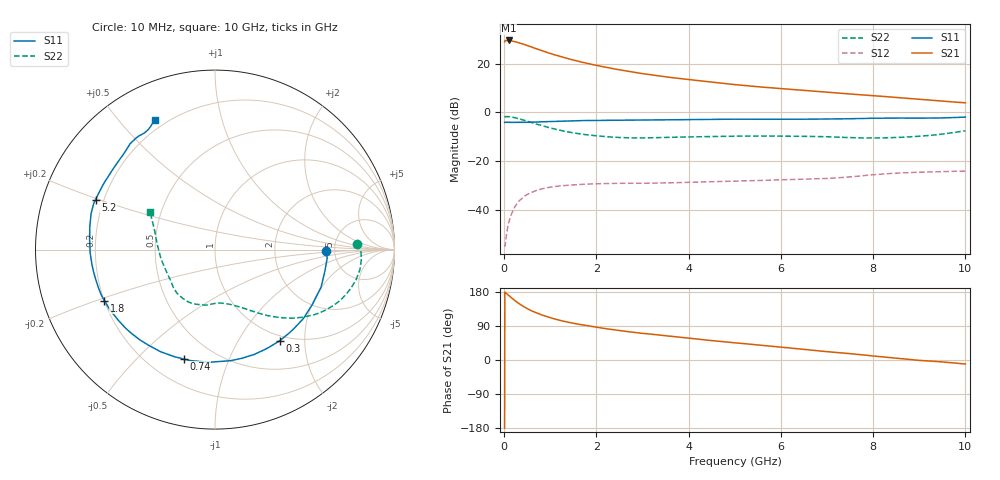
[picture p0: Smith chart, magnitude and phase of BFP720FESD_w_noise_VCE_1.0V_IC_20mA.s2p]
! Infineon Technologies  Discrete & RF Semiconductors
! BFP720FESD
! VCE =  1.0 V,  IC =  20 mA
! Common Emitter S-Parameters:  Jan 2016
# GHz  S  MA  R  50
!  f  S11  S21  S12  S22
! GHz  MAG  ANG  MAG  ANG  MAG  ANG  MAG  ANG
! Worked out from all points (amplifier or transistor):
!   233 points, 10 MHz to 10 GHz, reference 50 ohm
!   highest |S21| = 29.5 dB at 100 MHz (marker M1)
!   |S21| within 3 dB of that: start of sweep to 639.5 MHz
!   unconditionally stable (mu >= 1): start of sweep to 72.49 MHz; 3.083 GHz to end of sweep
!   at 200 MHz: K = 0.46, MSG = 34.5 dB, |S12| = -39.9 dB
!   at 1.74 GHz: K = 0.64, MSG = 24.9 dB, |S12| = -29.5 dB
!   at 10 GHz: K = 1.69, MAG = 9.2 dB, |S12| = -24.1 dB
!   lowest NFmin = 0.95 dB at 450 MHz
!   S11 on the Smith chart (normalised r, x): 10 MHz: 4.26, -0.12; 300 MHz: 0.92, -1.52; 740 MHz: 0.34, -0.70; 1.8 GHz: 0.20, -0.21; 5.2 GHz: 0.17, +0.20; 10 GHz: 0.16, +0.63
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0.01  0.6203 -0.8  27.82 -179.8  0.0019 29.0  0.7922 2.3
0.02  0.6268 -4.4  29.51 178.5  0.0018 40.5  0.8135 -1.0
0.1  0.6272 -19.6  29.72 170.5  0.0055 67.9  0.8153 -7.9
0.2  0.6246 -38.0  28.65 160.1  0.0101 66.1  0.7877 -15.8
0.3  0.623 -54.7  27.03 150.7  0.0143 61.5  0.7484 -22.7
0.4  0.6236 -69.4  25.3 142.7  0.0177 56.5  0.7025 -28.6
0.5  0.6249 -82.0  23.44 135.7  0.0207 52.2  0.6569 -33.7
0.6  0.6288 -93.1  21.7 129.4  0.023 48.1  0.6131 -38.0
0.74  0.6337 -105.9  19.45 122.4  0.0257 43.4  0.5592 -43.0
0.9  0.6447 -118.0  17.23 115.3  0.028 38.9  0.5065 -47.9
1.16  0.6566 -132.8  14.48 106.2  0.0306 33.5  0.4393 -54.5
1.4  0.6665 -143.1  12.46 99.4  0.0321 29.7  0.3928 -59.7
1.68  0.6761 -152.3  10.72 92.9  0.0333 26.7  0.3564 -65.1
1.8  0.6788 -155.3  10.07 90.4  0.0337 25.8  0.3453 -67.3
2.2  0.6848 -164.7  8.403 82.7  0.0346 23.3  0.3169 -74.5
2.54  0.6891 -171.4  7.319 77.1  0.035 21.8  0.3033 -80.7
3.4  0.6994 176.5  5.494 65.3  0.0355 22.0  0.3036 -93.0
5.1  0.7223 158.2  3.625 44.3  0.0389 25.0  0.325 -112.6
5.2  0.7216 157.3  3.551 43.2  0.0392 25.2  0.3255 -113.7
6.8  0.7255 140.2  2.673 24.5  0.0434 28.6  0.3179 -134.4
8.4  0.7612 125.4  2.051 5.8  0.0559 30.0  0.3023 -167.4
10  0.7968 115.0  1.566 -10.7  0.0623 22.7  0.4171 150.1
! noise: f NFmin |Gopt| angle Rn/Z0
0.45  0.95  0.04  -26  0.11
2.4  0.98  0.01  142  0.12
5.5  1.11  0.17  145  0.11
10  1.56  0.29  -128  0.15
